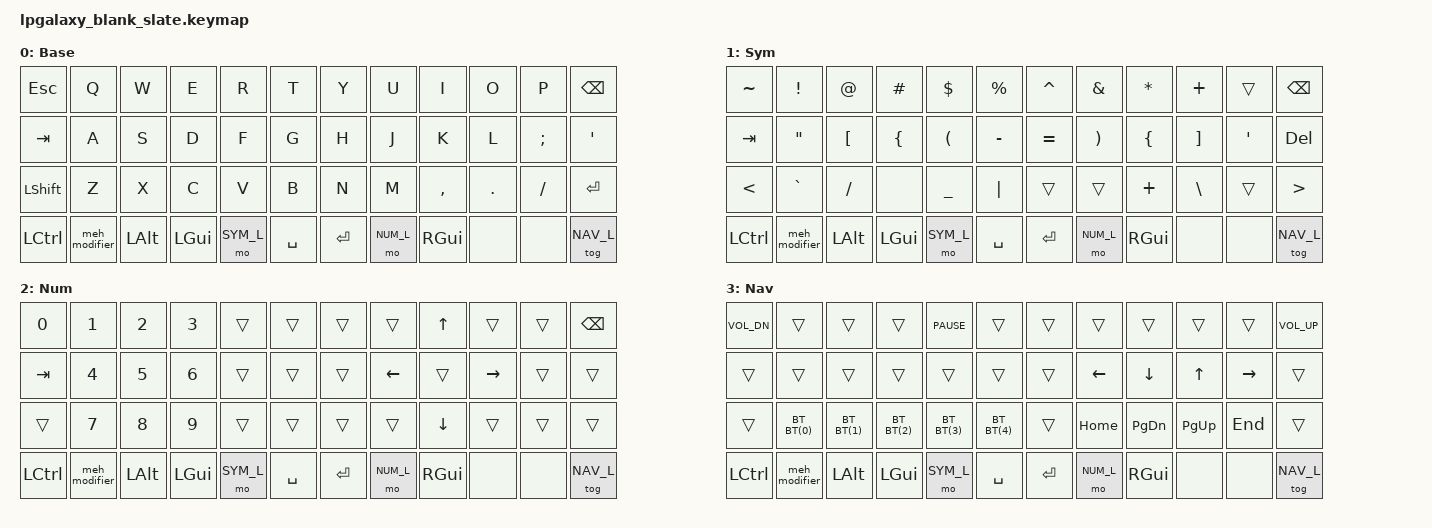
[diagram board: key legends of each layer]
/*
 * Copyright (c) 2022 Pete Johanson
 *
 * SPDX-License-Identifier: MIT
 */

#include <behaviors.dtsi>
#include <dt-bindings/zmk/keys.h>
#include <dt-bindings/zmk/bt.h>
#include <dt-bindings/zmk/outputs.h>

#define QWERTY_BASE 1

#define TBLE_ORTHO   1
// #define TBLE_MIT     1
// #define TBLE_DUAL_2U 1

#define SYM_L 1
#define NUM_L 2
#define NAV_L 3

// Using layer taps on thumbs, having quick tap as well helps w/ repeating space/backspace
&lt { quick_tap_ms = <200>; };

#define BT(n) BT_SEL n

/ {
    chosen {
       zmk,physical-layout = &layout_ortho_4x12_all1u;
    };

    macros {
      ZMK_MACRO(thumbs_up,
		wait-ms = <1>;
		tap-ms = <5>;
                bindings = <&kp PLUS &kp COLON &kp PLUS &kp N1 &kp COLON &kp RET>;
		)
    };
    
    tap_dances {
    	shifty: shift_caps_word {
		compatible = "zmk,behavior-tap-dance";
		label = "TD_SHIFTY";
		#binding-cells = <0>;
		tapping-term-ms = <150>;
		bindings = <&kp LSHFT>, <&caps_word>;
	};
    };
    behaviors {
        meh_modifier: meh {
            compatible = "zmk,behavior-mod-morph";
            label = "MEH_MOD";
            #binding-cells = <0>;
            bindings = <&kp LC(LA(LSHFT))>, <&kp LC(LA(LSHFT))>;
            mods = <(MOD_LSFT|MOD_RSFT)>;
        };
    };

    keymap {
        compatible = "zmk,keymap";

        base_layer {
            label = "Base";
            bindings = <
 &kp ESC    &kp Q            &kp W      &kp E       &kp R          &kp T          &kp Y            &kp U          &kp I       &kp O      &kp P         &kp BKSP
 &kp TAB    &kp A            &kp S      &kp D       &kp F          &kp G          &kp H            &kp J          &kp K       &kp L      &kp SEMI      &kp QUOT
 &kp LSHFT  &kp Z      	     &kp X      &kp C       &kp V          &kp B          &kp N            &kp M          &kp COMMA   &kp DOT    &kp FSLH      &kp RET
 &kp LCTRL  &meh_modifier &kp LALT   &kp LGUI    &mo SYM_L      &kp SPACE      &kp RET          &mo NUM_L      &kp RGUI    &none     &none      &tog NAV_L
            >;
        };
        sym_layer {
            label = "Sym";
            bindings = <
&kp TILDE  &kp EXCL   &kp AT     &kp HASH    &kp DLLR     &kp PRCNT    &kp CARET     &kp AMPS    &kp ASTRK       &kp PLUS       &trans     &kp BKSP
&kp TAB    &kp DQT    &kp LBKT   &kp LBRC    &kp LPAR     &kp MINUS    &kp EQUAL     &kp RPAR    &kp LBRC        &kp RBKT       &kp SQT    &kp DEL
&kp LT     &kp GRAVE  &kp SLASH  &none       &kp UNDER    &kp PIPE     &trans        &trans      &kp PLUS        &kp BSLH       &trans     &kp GT
 &kp LCTRL  &meh_modifier &kp LALT   &kp LGUI    &mo SYM_L      &kp SPACE      &kp RET          &mo NUM_L      &kp RGUI    &none     &none      &tog NAV_L
            >;
        };

        num_layer {
            label = "Num";
            bindings = <
&kp N0     &kp N1     &kp N2 	&kp N3 	&trans    &trans   &trans    &trans     &kp UP      &trans       &trans     &kp BKSP
&kp TAB    &kp N4     &kp N5 	&kp N6	&trans    &trans   &trans    &kp LEFT   &trans      &kp RIGHT    &trans     &trans
&trans     &kp N7     &kp N8 	&kp N9	&trans    &trans   &trans    &trans     &kp DOWN    &trans       &trans     &trans
 &kp LCTRL  &meh_modifier &kp LALT   &kp LGUI    &mo SYM_L      &kp SPACE      &kp RET          &mo NUM_L      &kp RGUI    &none     &none      &tog NAV_L
            >;
        };
        nav_layer {
            label = "Nav";
            bindings = <
&kp C_VOL_DN 	&trans     	&trans     &trans      &kp C_PAUSE     &trans       &trans    &trans    &trans      &trans    	&trans     &kp C_VOL_UP
&trans		&trans     	&trans     &trans      &trans          &trans       &trans    &kp LEFT  &kp DOWN    &kp UP    	&kp RIGHT  &trans
&trans		&bt BT(0)  	&bt BT(1)  &bt BT(2)   &bt BT(3)       &bt BT(4)    &trans    &kp HOME  &kp PG_DN   &kp PG_UP	&kp END    &trans
 &kp LCTRL  &meh_modifier &kp LALT   &kp LGUI    &mo SYM_L      &kp SPACE      &kp RET          &mo NUM_L      &kp RGUI    &none     &none      &tog NAV_L
            >;
        };


    };
};

